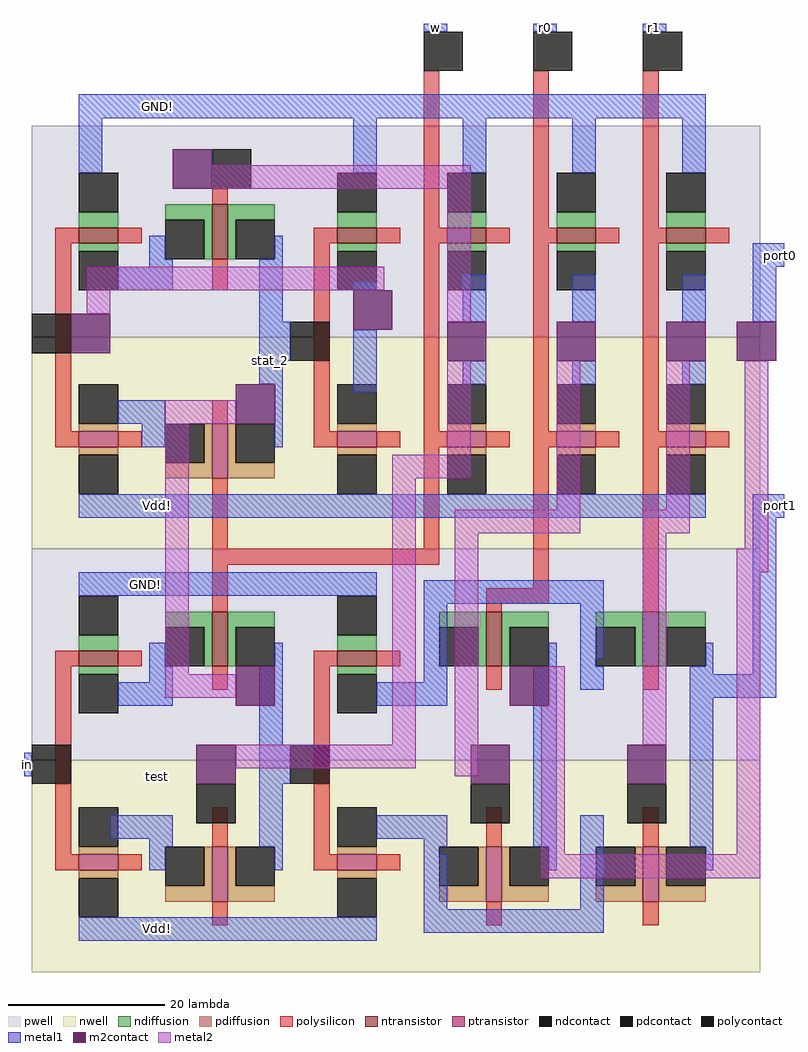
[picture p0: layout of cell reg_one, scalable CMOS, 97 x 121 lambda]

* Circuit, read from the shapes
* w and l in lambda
.subckt reg_one GND! Vdd! in port0 port1 r0 r1 stat_2 test w
M1 GND! in n1 VSUBS nfet w=5 l=2
M2 GND! n2 n3 VSUBS nfet w=5 l=2
M3 stat_2 w n1 VSUBS nfet w=7 l=2
M4 stat_2 n4 n3 VSUBS nfet w=7 l=2
M5 GND! stat_2 n5 VSUBS nfet w=5 l=2
M6 GND! stat_2 n2 VSUBS nfet w=5 l=2
M7 GND! w n4 VSUBS nfet w=5 l=2
M8 port0 r0 n5 VSUBS nfet w=7 l=2
M9 GND! r0 n6 VSUBS nfet w=5 l=2
M10 port1 r1 n5 VSUBS nfet w=7 l=2
M11 GND! r1 n7 VSUBS nfet w=5 l=2
M12 n8 in Vdd! test pfet w=5 l=2
M13 n9 n2 Vdd! n10 pfet w=5 l=2
M14 stat_2 n4 n8 test pfet w=7 l=2
M15 stat_2 w n9 n10 pfet w=7 l=2
M16 n11 stat_2 Vdd! test pfet w=5 l=2
M17 n2 stat_2 Vdd! n10 pfet w=5 l=2
M18 n4 w Vdd! n10 pfet w=5 l=2
M19 port0 n6 n11 test pfet w=7 l=2
M20 n6 r0 Vdd! n10 pfet w=5 l=2
M21 port1 n7 n11 test pfet w=7 l=2
M22 n7 r1 Vdd! n10 pfet w=5 l=2
.ends

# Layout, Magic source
magic
tech scmos
<< nwell >>
rect -15 51 78 78
rect -15 -3 78 24
<< pwell >>
rect -15 78 78 105
rect -15 24 78 51
<< ntransistor >>
rect 8 88 10 95
<< ptransistor >>
rect 8 60 10 67
<< ndiffusion >>
rect 2 93 8 95
rect 7 88 8 93
rect 10 93 16 95
rect 10 88 11 93
<< pdiffusion >>
rect 7 62 8 67
rect 2 60 8 62
rect 10 62 11 67
rect 10 60 16 62
<< ndcontact >>
rect 2 88 7 93
rect 11 88 16 93
<< pdcontact >>
rect 2 62 7 67
rect 11 62 16 67
<< polysilicon >>
rect 8 95 10 97
rect 35 91 37 112
rect 49 91 51 112
rect 63 91 65 112
rect 8 84 10 88
rect 8 67 10 70
rect 8 51 10 60
rect 35 51 37 64
rect 8 49 37 51
rect 8 46 10 49
rect 49 46 51 65
rect 43 44 51 46
rect 63 44 65 66
rect 8 14 10 18
rect 43 14 45 18
rect 63 14 65 18
<< polycontact >>
rect 35 112 40 117
rect 49 112 54 117
rect 63 112 68 117
rect 8 97 13 102
rect -15 76 -10 81
rect 18 75 23 80
rect -15 21 -10 26
rect 18 21 23 26
<< metal1 >>
rect 35 117 38 118
rect 49 117 52 118
rect 63 117 66 118
rect -9 106 71 109
rect -9 99 -6 106
rect 26 99 29 106
rect 40 99 43 106
rect 54 99 57 106
rect 68 99 71 106
rect 0 88 2 91
rect 16 88 17 91
rect 0 87 3 88
rect -4 84 3 87
rect 14 80 17 88
rect 77 87 81 90
rect 26 84 29 85
rect 14 75 18 80
rect 40 80 43 86
rect 54 80 57 86
rect 68 80 71 86
rect 77 80 80 87
rect 14 72 17 75
rect -4 67 2 70
rect -1 64 2 67
rect 16 64 17 72
rect 26 71 29 79
rect 40 72 43 75
rect 54 72 57 75
rect 68 72 71 75
rect -9 55 71 58
rect 77 55 81 58
rect -9 45 29 48
rect 35 44 58 47
rect 0 34 3 35
rect -4 31 3 34
rect 35 34 38 44
rect 55 37 58 44
rect 29 31 38 34
rect 77 35 80 55
rect 71 32 80 35
rect -16 22 -15 25
rect 16 21 18 26
rect 69 22 72 25
rect -5 14 1 17
rect 29 14 35 17
rect 35 5 38 12
rect 55 5 58 13
rect -9 1 29 4
rect 35 2 58 5
<< m2contact >>
rect 3 97 8 102
rect -10 76 -5 81
rect 26 79 31 84
rect 11 67 16 72
rect 38 75 43 80
rect 52 75 57 80
rect 66 75 71 80
rect 75 75 80 80
rect 11 31 16 36
rect 46 31 51 36
<< metal2 >>
rect 8 97 41 100
rect -8 84 30 87
rect -8 81 -5 84
rect 38 80 41 97
rect 2 67 11 70
rect 2 35 5 67
rect 38 63 41 75
rect 31 60 41 63
rect 2 32 11 35
rect 31 26 34 60
rect 52 56 55 75
rect 66 56 69 75
rect 11 23 34 26
rect 39 53 55 56
rect 63 53 69 56
rect 39 22 42 53
rect 51 31 53 36
rect 50 12 53 31
rect 63 26 66 53
rect 76 51 79 75
rect 75 48 79 51
rect 75 12 78 48
rect 50 9 78 12
use inv_small  inv_small_0
transform 1 0 1 0 1 0
box -13 4 -2 45
use inv_small  inv_small_1
transform 1 0 34 0 1 0
box -13 4 -2 45
use inv_small  inv_small_2
transform 1 0 1 0 1 54
box -13 4 -2 45
use inv_small  inv_small_3
transform 1 0 34 0 1 54
box -13 4 -2 45
use inv_small  inv_small_4
transform 1 0 48 0 1 54
box -13 4 -2 45
use inv_small  inv_small_5
transform 1 0 62 0 1 54
box -13 4 -2 45
use inv_small  inv_small_6
transform 1 0 76 0 1 54
box -13 4 -2 45
use inv_small  inv_small_7
transform 1 0 1 0 1 0
box -13 4 -2 45
use inv_small  inv_small_8
transform 1 0 34 0 1 0
box -13 4 -2 45
use inv_small  inv_small_9
transform 1 0 1 0 1 54
box -13 4 -2 45
use inv_small  inv_small_10
transform 1 0 48 0 1 54
box -13 4 -2 45
use inv_small  inv_small_11
transform 1 0 34 0 1 54
box -13 4 -2 45
use inv_small  inv_small_12
transform 1 0 76 0 1 54
box -13 4 -2 45
use inv_small  inv_small_13
transform 1 0 62 0 1 54
box -13 4 -2 45
use trans_gate  trans_gate_0
transform 1 0 5 0 1 -2
box -5 5 12 48
use trans_gate  trans_gate_1
transform 1 0 40 0 1 -2
box -5 5 12 48
use trans_gate  trans_gate_2
transform 1 0 60 0 1 -2
box -5 5 12 48
use trans_gate  trans_gate_3
transform 1 0 5 0 1 -2
box -5 5 12 48
use trans_gate  trans_gate_4
transform 1 0 40 0 1 -2
box -5 5 12 48
use trans_gate  trans_gate_5
transform 1 0 60 0 1 -2
box -5 5 12 48
<< labels >>
rlabel metal1 35 117 38 118 1 w
rlabel metal1 49 117 52 118 1 r0
rlabel metal1 63 117 66 118 1 r1
rlabel metal1 -9 45 8 48 1 GND!
rlabel metal1 -9 1 11 4 5 Vdd!
rlabel metal1 -9 106 11 109 1 GND!
rlabel metal1 -9 55 11 58 5 Vdd!
rlabel metal1 -16 22 -15 25 7 in
rlabel metal1 14 73 17 77 7 stat_2
rlabel nwell 0 21 2 23 1 test
rlabel metal1 80 87 81 90 3 port0
rlabel metal1 80 55 81 58 3 port1
<< end >>

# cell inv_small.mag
magic
tech scmos
<< ntransistor >>
rect -10 36 -5 38
<< ptransistor >>
rect -10 10 -5 12
<< ndiffusion >>
rect -10 38 -5 40
rect -10 35 -5 36
<< pdiffusion >>
rect -10 12 -5 13
rect -10 9 -5 10
<< ndcontact >>
rect -10 40 -5 45
rect -10 30 -5 35
<< pdcontact >>
rect -10 13 -5 18
rect -10 4 -5 9
<< polysilicon >>
rect -13 36 -10 38
rect -5 36 -2 38
rect -13 12 -11 36
rect -13 10 -10 12
rect -5 10 -2 12
<< end >>

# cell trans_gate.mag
magic
tech scmos
<< ntransistor >>
rect 3 38 5 45
<< ptransistor >>
rect 3 8 5 15
<< ndiffusion >>
rect -3 43 3 45
rect 2 38 3 43
rect 5 43 11 45
rect 5 38 6 43
<< pdiffusion >>
rect 2 10 3 15
rect -3 8 3 10
rect 5 10 6 15
rect 5 8 11 10
<< ndcontact >>
rect -3 38 2 43
rect 6 38 11 43
<< pdcontact >>
rect -3 10 2 15
rect 6 10 11 15
<< polysilicon >>
rect 3 45 5 48
rect 3 35 5 38
rect 3 15 5 18
rect 3 5 5 8
<< polycontact >>
rect 1 18 6 23
<< metal1 >>
rect -5 38 -3 41
rect 11 38 12 41
rect -5 35 -2 38
rect -5 15 -2 19
rect 9 15 12 38
rect -5 12 -3 15
rect 11 12 12 15
<< m2contact >>
rect 1 23 6 28
<< end >>
